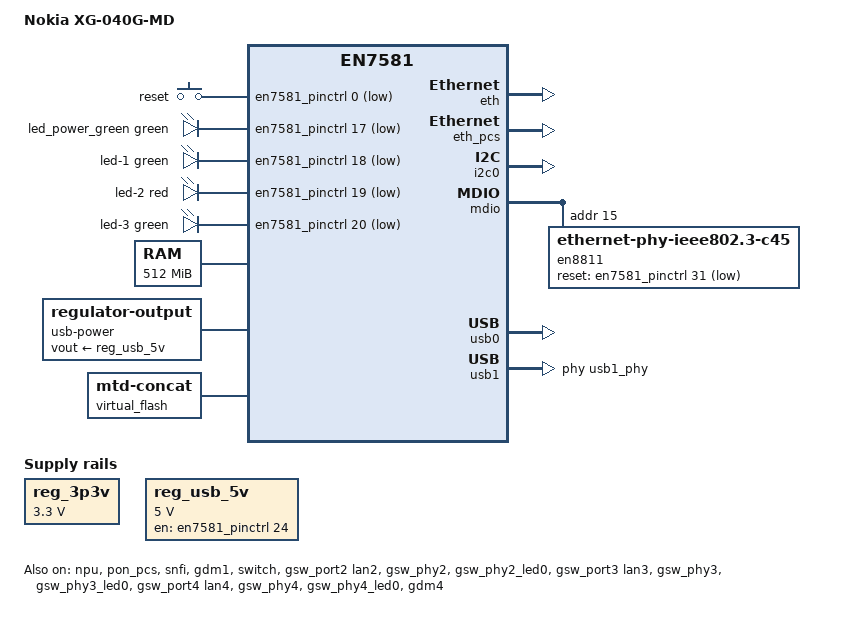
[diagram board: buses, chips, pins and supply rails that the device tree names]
// SPDX-License-Identifier: GPL-2.0-only OR MIT

/dts-v1/;
#include <dt-bindings/leds/common.h>
#include <dt-bindings/gpio/gpio.h>
#include <dt-bindings/input/input.h>
#include "an7581.dtsi"

/ {
	model = "Nokia XG-040G-MD";
	compatible = "nokia,xg-040g-md",
		     "airoha,an7581",
		     "airoha,en7581";

	aliases {
		label-mac-device = &gdm1;

		led-boot = &led_power_green;
		led-failsafe = &led_power_green;
		led-running = &led_power_green;
		led-upgrade = &led_power_green;

		serial0 = &uart1;
	};

	chosen {
		bootargs = "console=ttyS0,115200 earlycon";
		stdout-path = "serial0:115200n8";
		linux,usable-memory-range =
			<0x0 0x80200000 0x0 0x1fe00000>;
	};

	gpio-keys {
		compatible = "gpio-keys";

		button-0 {
			label = "reset";
			linux,code = <KEY_RESTART>;
			gpios = <&en7581_pinctrl 0 GPIO_ACTIVE_LOW>;
			debounce-interval = <60>;
		};
	};

	leds {
		compatible = "gpio-leds";

		led_power_green: led-0 {
			color = <LED_COLOR_ID_GREEN>;
			function = LED_FUNCTION_POWER;
			gpios = <&en7581_pinctrl 17 GPIO_ACTIVE_LOW>;
			panic-indicator;
		};

		led-1 {
			color = <LED_COLOR_ID_GREEN>;
			function = LED_FUNCTION_WAN;
			gpios = <&en7581_pinctrl 18 GPIO_ACTIVE_LOW>;
		};

		led-2 {
			color = <LED_COLOR_ID_RED>;
			function = LED_FUNCTION_WAN;
			gpios = <&en7581_pinctrl 19 GPIO_ACTIVE_LOW>;
		};

		led-3 {
			color = <LED_COLOR_ID_GREEN>;
			function = LED_FUNCTION_WAN_ONLINE;
			gpios = <&en7581_pinctrl 20 GPIO_ACTIVE_LOW>;
		};
	};

	memory@80000000 {
		device_type = "memory";
		reg = <0x0 0x80000000 0x0 0x20000000>;
	};

	reg_3p3v: regulator-3p3v {
		compatible = "regulator-fixed";
		regulator-always-on;
		regulator-boot-on;
		regulator-max-microvolt = <3300000>;
		regulator-min-microvolt = <3300000>;
		regulator-name = "fixed-3.3V";
	};

	reg_usb_5v: regulator-usb-5v {
		compatible = "regulator-fixed";
		enable-active-high;
		gpio = <&en7581_pinctrl 24 GPIO_ACTIVE_HIGH>;
		regulator-boot-on;
		regulator-max-microvolt = <5000000>;
		regulator-min-microvolt = <5000000>;
		regulator-name = "usb-5v";
	};

	/*
	 * Controls both USB ports at once
	 */
	usb-power {
		compatible = "regulator-output";
		vout-supply = <&reg_usb_5v>;
	};

	virtual_flash {
		compatible = "mtd-concat";
		devices = <&ubi4 &ubi1 &ubi2 &ubi3 &ubi5 &ubi6>;

		partitions {
			compatible = "fixed-partitions";

			#address-cells = <1>;
			#size-cells = <1>;

			partition@0 {
				label = "ubi";
				reg = <0x0 0x0>;
			};
		};
	};
};

&en7581_pinctrl {
	gpio-ranges = <&en7581_pinctrl 0 13 47>;

	mdio_pins: mdio-pins {
		mux {
			function = "mdio";
			groups = "mdio";
		};

		conf {
			pins = "gpio2";
			output-high;
		};
	};

	gswp2_led0_pins: gswp2-led0-pins {
		mux {
			function = "phy2_led0";
			pins = "gpio34";
		};
	};

	gswp3_led0_pins: gswp3-led0-pins {
		mux {
			function = "phy3_led0";
			pins = "gpio35";
		};
	};

	gswp4_led0_pins: gswp4-led0-pins {
		mux {
			function = "phy4_led0";
			pins = "gpio42";
		};
	};
};

&eth {
	status = "okay";
};

&eth_pcs {
	status = "okay";
};

&i2c0 {
	status = "okay";
};

&mdio {
	/* Airoha EN8811 2.5Gbps phy */
	en8811: ethernet-phy@f {
		compatible = "ethernet-phy-ieee802.3-c45";
		reg = <0xf>;

		reset-gpios = <&en7581_pinctrl 31 GPIO_ACTIVE_LOW>;
		reset-assert-us = <10000>;
		reset-deassert-us = <20000>;

		leds {
			#address-cells = <1>;
			#size-cells = <0>;

			led-0 {
				reg = <0>;
				color = <LED_COLOR_ID_GREEN>;
				function = LED_FUNCTION_LAN;
				function-enumerator = <1>;
				default-state = "keep";
			};
		};
	};
};

&npu {
	status = "okay";
};

&pon_pcs {
	status = "okay";
};

&snfi {
	status = "okay";
};

/*
 * SkyHigh ML02G300WHI00
 */
&spi_nand {
	/*
	 *  ECC must be aligned with bootloader to prevent read errors.
	 *  Stock fw also uses NAND_ECC_NONE.
	 */
	nand-ecc-mode = "none";
	nand-ecc-step-size = <2048>;
	nand-ecc-strength = <0>;

	partitions {
		compatible = "fixed-partitions";
		#address-cells = <1>;
		#size-cells = <1>;

		partition@0_all {
			label = "all_flash";
			reg = <0x0 0xeba0000>;
			read-only;
		};

		partition@0 {
			label = "bootloader";
			reg = <0x0 0x80000>;
			read-only;
		};

		partition@60000 {
			label = "u-boot-env";
			reg = <0x60000 0x20000>;
		};

		partition@80000 {
			label = "romfile";
			reg = <0x80000 0x40000>;
			read-only;
		};

		partition@c0000 {
			label = "nsb_master";
			reg = <0xc0000 0x2880000>;

			compatible = "fixed-partitions";
			#address-cells = <1>;
			#size-cells = <1>;

			partition@0 {
				label = "kernel";
				reg = <0x0 0x800000>;
			};

			ubi1: partition@800000 {
				label = "rootfs_master";
				reg = <0x800000 0x2080000>;
			};
		};

		ubi2: partition@2940000 {
			label = "nsb_slave";
			reg = <0x2940000 0x2880000>;
		};

		partition@51c0000 {
			label = "bosa";
			reg = <0x51c0000 0x40000>;
			read-only;
		};

		factory: partition@5200000 {
			label = "ri";
			reg = <0x5200000 0x40000>;
			read-only;
		};

		partition@5240000 {
			label = "flag";
			reg = <0x5240000 0x40000>;
			read-only;
		};

		partition@5280000 {
			label = "flagback";
			reg = <0x5280000 0x40000>;
			read-only;
		};

		ubi3: partition@52c0000 {
			label = "config";
			reg = <0x52c0000 0xa00000>;
		};

		ubi4: partition@5cc0000 {
			label = "data";
			reg = <0x5cc0000 0x80e0000>;
		};

		ubi5: partition@dda0000 {
			label = "oopsfs";
			reg = <0xdda0000 0x400000>;
		};

		partition@e1a0000 {
			label = "log";
			reg = <0xe1a0000 0xa00000>;

			compatible = "fixed-partitions";
			#address-cells = <1>;
			#size-cells = <1>;

			ubi6: partition@0 {
				label = "log_truncated";
				reg = <0x0 0x9c0000>;
			};

			/*
			 * Must be excluded from ubi. Otherwise the data
			 * will be broken after U-Boot 'bootflag swap'
			 * command call. This command writes bootflag at
			 * 0xeb60000 (boot_flag_addr).
			 */
			partition@9c0000 {
				label = "bootflag";
				reg = <0x9c0000 0x40000>;
				read-only;
			};
		};
	};
};

&factory {
	nvmem-layout {
		compatible = "fixed-layout";

		#address-cells = <1>;
		#size-cells = <1>;

		macaddr_factory_3e: macaddr@3e {
			compatible = "mac-base";
			reg = <0x3e 0x6>;
			#nvmem-cell-cells = <1>;
		};
	};
};

&gdm1 {
	status = "okay";

	nvmem-cell-names = "mac-address";
	nvmem-cells = <&macaddr_factory_3e (0)>;
};

&switch {
	status = "okay";

	pinctrl-names = "default";
	pinctrl-0 = <&mdio_pins>;
};

&gsw_port2 {
	status = "okay";

	label = "lan2";
};

&gsw_phy2 {
	status = "okay";

	interrupts = <2>;

	pinctrl-names = "gbe-led";
	pinctrl-0 = <&gswp2_led0_pins>;
};

&gsw_phy2_led0 {
	status = "okay";

	color = <LED_COLOR_ID_GREEN>;
	function = LED_FUNCTION_LAN;
	function-enumerator = <2>;
	active-low;
};

&gsw_port3 {
	status = "okay";

	label = "lan3";
};

&gsw_phy3 {
	status = "okay";

	interrupts = <3>;

	pinctrl-names = "gbe-led";
	pinctrl-0 = <&gswp3_led0_pins>;
};

&gsw_phy3_led0 {
	status = "okay";

	color = <LED_COLOR_ID_GREEN>;
	function = LED_FUNCTION_LAN;
	function-enumerator = <3>;
	active-low;
};

&gsw_port4 {
	status = "okay";

	label = "lan4";
};

&gsw_phy4 {
	status = "okay";

	interrupts = <4>;

	pinctrl-names = "gbe-led";
	pinctrl-0 = <&gswp4_led0_pins>;
};

&gsw_phy4_led0 {
	status = "okay";

	color = <LED_COLOR_ID_GREEN>;
	function = LED_FUNCTION_LAN;
	function-enumerator = <4>;
	active-low;
};

&gdm4 {
	status = "okay";

	openwrt,netdev-name = "lan1";

	phy-handle = <&en8811>;
	phy-mode = "2500base-x";

	nvmem-cell-names = "mac-address";
	nvmem-cells = <&macaddr_factory_3e (0)>;
};

&usb0 {
	status = "okay";

	vusb33-supply = <&reg_3p3v>;
};

&usb1 {
	status = "okay";

	mediatek,u3p-dis-msk = <0x1>;
	phys = <&usb1_phy PHY_TYPE_USB2>;
	vusb33-supply = <&reg_3p3v>;
};
